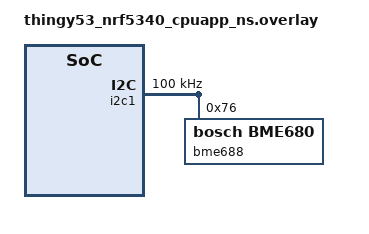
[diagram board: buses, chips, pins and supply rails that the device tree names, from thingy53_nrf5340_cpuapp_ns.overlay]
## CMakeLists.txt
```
cmake_minimum_required(VERSION 3.20.0)

find_package(Zephyr REQUIRED HINTS $ENV{ZEPHYR_BASE})

project(project_carl)

target_sources(app PRIVATE src/main.c src/bme688_interface.c src/ble.c)
target_include_directories(app PRIVATE src)
```

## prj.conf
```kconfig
# enable I2C
CONFIG_I2C=y

# enable uart driver
CONFIG_SERIAL=y

# enable GPIO
CONFIG_GPIO=y

#enable logging
CONFIG_LOG=y

#enable printk
CONFIG_PRINTK=y

#enable floating point format
CONFIG_CBPRINTF_FP_SUPPORT=y

#enable sensor
CONFIG_SENSOR=y

##enable bme688
CONFIG_BME680=y
```

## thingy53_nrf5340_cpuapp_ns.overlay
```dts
// To get started, press Ctrl+Space to bring up the completion menu and view the available nodes.

// You can also use the buttons in the sidebar to perform actions on nodes.
// Actions currently available include:

// * Enabling / disabling the node
// * Adding the bus to a bus
// * Removing the node
// * Connecting ADC channels

// For more help, browse the DeviceTree documentation at https://docs.zephyrproject.org/latest/guides/dts/index.html
// You can also visit the nRF DeviceTree extension documentation at https://nrfconnect.github.io/vscode-nrf-connect/devicetree/nrfdevicetree.html
&i2c1 
{
        compatible = "nordic,nrf-twim";
        status = "okay";
        clock-frequency = <I2C_BITRATE_STANDARD>;

        bme688: bme688@76 
        {
                compatible = "bosch,bme680";
                reg = <0x76>;
        };
};
// rgb_led_pins 
// {
//         compatible = "gpio-leds";
//         led0: red_led {
//             gpios = <&gpio0 1 GPIO_ACTIVE_HIGH>;
//         };
//         led1: green_led {
//             gpios = <&gpio0 2 GPIO_ACTIVE_HIGH>;
//         };
//         led2: blue_led {
//             gpios = <&gpio0 3 GPIO_ACTIVE_HIGH>;
//         };
// };
```

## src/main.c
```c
/*******************************************************************
 * File: main.cpp
 * Author: Manideep Reddy Tamma
 * Date of creation: 2024-04-25
 * Description: Project Carl: Plant vital monitor, using arduino nRF SDK and Zypher RTOS.
*********************************************************************/
// #include <zephyr/kernel.h>
// #include <zephyr/device.h>
// #include <zephyr/devicetree.h>
// #include <zephyr/drivers/i2c.h>
// #include <zephyr/logging/log.h>
// #include <zephyr/sys/printk.h>
// #include <zephyr/drivers/gpio.h>
// #include <zephyr/drivers/sensor.h>

// /* including private headers */
// #include "bme688_reg.h"
// #include "bme688_interface.h"
#include "ui.h"
#include "ui.c"


// /* The code snippet */
// /* 1000x30 = 30sec */
// #define SLEEP_TIME_MS	1000/6
// // #define I2C_NODE DT_NODELABEL (bme688)

// // #include <zephyr/drivers/sensor.h>

// int main(void)
// {

// 	// Configure I2C
// 	if(false == configi2c())
// 	{
// 		printk("FAIL to init configure I2C settings\n\r");
// 		return;
// 	}

// 	// Setup the Sensor
// 	if (!envSensorConfig())
// 	{
// 		printk("FAIL to init configure Sensor settings\n\r");
// 		return;
// 	}

// 	// Setup the UI
// 	if (rgb_led_init(&rgb_led, &rgb_config) != 0) 
// 	{
//         LOG_ERR("Failed to initialize RGB LED");
//         return false;
//     }
// 	ui_error();
// 	lost_ble();
// 	// Read the sensor
// 	while (1)
// 	{
// 		if (!envSensorRead())
// 		{
// 			printk("FAIL to read sensor data\n\r");
// 			return;
// 		}
// 		k_sleep(K_SECONDS(10));  // Sleep for 10 seconds

// 		// Example of RGB LED
// 		// rgb_led_set_color(&rgb_led, 1, 0, 0); // Red
// 		// k_msleep(SLEEP_TIME_MS);
//         // rgb_led_set_color(&rgb_led, 0, 1, 0); // Green
//         // k_msleep(SLEEP_TIME_MS);
//         // rgb_led_set_color(&rgb_led, 0, 0, 1); // Blue
//         // k_msleep(SLEEP_TIME_MS);
//         // rgb_led_off(&rgb_led); // Off
//         // k_msleep(SLEEP_TIME_MS);
// 	}

// 	return 0;
// }

#include <zephyr/kernel.h>
#include <zephyr/drivers/sensor.h>
#include <zephyr/drivers/gpio.h>
#include <zephyr/logging/log.h>

void main(void)
{
	const struct device *bme = DEVICE_DT_GET_ONE(bosch_bme680);
	struct sensor_value temp, press, humidity;
	uint32_t start_time = k_uptime_get_32();

	printk("Initiating Project-Carl, Plant Monitor using Thingy:53 %s\n", CONFIG_BOARD);

	if (!device_is_ready(bme)) {
		printk("BME680 sensor: Device not ready.\n");
	} else {
		printk("BME680 sensor: Device is ready.\n");
	}

	// Setup the UI
	if (rgb_led_init(&rgb_led, &rgb_config) != 0) 
	{
		LOG_ERR("Failed to initialize RGB LED");
		ui_error();
		return;
	}

	led_check();
	welcome_light();

	if (!device_is_ready(bme)) {
		printk("sensor: Device not ready.\n");
		return;
	}
	printk("Device %p name is %s\n", bme, bme->name);

	while (1) {
		k_sleep(K_MINUTES(0.5));

		sensor_sample_fetch(bme);
		sensor_channel_get(bme, SENSOR_CHAN_AMBIENT_TEMP, &temp);
		sensor_channel_get(bme, SENSOR_CHAN_PRESS, &press);
		sensor_channel_get(bme, SENSOR_CHAN_HUMIDITY, &humidity);

		// Multiply pressure value by 10 to shift the decimal point
		press.val1 = press.val1 * 10 + press.val2 / 100000;
		press.val2 = (press.val2 % 100000) * 10;

		// Get elapsed time since start
		uint32_t elapsed_time = k_uptime_get_32() - start_time;
		uint32_t hours = elapsed_time / (60 * 60 * 1000);
		uint32_t minutes = (elapsed_time / (60 * 1000)) % 60;
		uint32_t seconds = (elapsed_time / 1000) % 60;

		// Print sensor data with timestamp
		printk("[%02d:%02d:%02d] Temp: %d.%06d °C | Atm: %d.%06d hPa | Hum: %d.%06d%%\n",
					hours, minutes, seconds,
					temp.val1, temp.val2, press.val1, press.val2,
					humidity.val1, humidity.val2);

		// Flash green light
		rgb_led_set_color(&rgb_led, 0, 1, 0); // Green
		k_msleep(500);
		rgb_led_off(&rgb_led); // Off
	}
}
```

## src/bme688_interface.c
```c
/*******************************************************************
 * File: bme688_interface.c
 * Author: Manideep Reddy Tamma
 * Date of creation: 2024-05-02
 * Description: C file for interfacing with BME688 sensor in Project Carl
*********************************************************************/

#include "bme688_reg.h"
#include <zephyr/kernel.h>
#include <zephyr/device.h>
#include <zephyr/drivers/i2c.h>
#include <zephyr/sys/printk.h>

#define I2C_NODE DT_NODELABEL(bme688)

static const struct i2c_dt_spec dev_i2c = I2C_DT_SPEC_GET(I2C_NODE);

// Calibration parameters
uint16_t par_t1, par_t2;
int8_t par_t3;
uint16_t par_p1, par_p2;
int8_t par_p3, par_p4, par_p5, par_p6, par_p7, par_p8, par_p9, par_p10;
uint16_t par_h1, par_h2;
int8_t par_h3, par_h4, par_h5, par_h6, par_h7;

int32_t t_fine;

bool read_calibration_params()
{
    uint8_t calib_data[41];
    int ret = i2c_burst_read_dt(&dev_i2c, 0xE1, calib_data, sizeof(calib_data));
    if (ret != 0)
    {
        printk("Failed to read calibration data from I2C device address 0x%x\n", dev_i2c.addr);
        return false;
    }

    par_t1 = (uint16_t)((calib_data[33] << 8) | calib_data[32]);
    par_t2 = (uint16_t)((calib_data[1] << 8) | calib_data[0]);
    par_t3 = (int8_t)calib_data[2];

    par_p1 = (uint16_t)((calib_data[5] << 8) | calib_data[4]);
    par_p2 = (uint16_t)((calib_data[7] << 8) | calib_data[6]);
    par_p3 = (int8_t)calib_data[8];
    par_p4 = (int8_t)calib_data[9];
    par_p5 = (int8_t)calib_data[10];
    par_p6 = (int8_t)calib_data[11];
    par_p7 = (int8_t)calib_data[12];
    par_p8 = (int8_t)calib_data[13];
    par_p9 = (int8_t)calib_data[14];
    par_p10 = (int8_t)calib_data[15];

    par_h1 = (uint16_t)((calib_data[26] << 4) | (calib_data[25] & 0x0F));
    par_h2 = (uint16_t)((calib_data[27] << 4) | (calib_data[25] >> 4));
    par_h3 = (int8_t)calib_data[28];
    par_h4 = (int8_t)calib_data[29];
    par_h5 = (int8_t)calib_data[30];
    par_h6 = (int8_t)calib_data[31];
    par_h7 = (int8_t)calib_data[32];

    printk("Calibration parameters:\n");
    printk("par_t1: %u, par_t2: %u, par_t3: %d\n", par_t1, par_t2, par_t3);
    printk("par_p1: %u, par_p2: %u, par_p3: %d, par_p4: %d, par_p5: %d, par_p6: %d, par_p7: %d, par_p8: %d, par_p9: %d, par_p10: %d\n",
            par_p1, par_p2, par_p3, par_p4, par_p5, par_p6, par_p7, par_p8, par_p9, par_p10);
    printk("par_h1: %u, par_h2: %u, par_h3: %d, par_h4: %d, par_h5: %d, par_h6: %d, par_h7: %d\n",
            par_h1, par_h2, par_h3, par_h4, par_h5, par_h6, par_h7);

    return true;
}

bool configi2c()
{
    printk("Initiating the Plant Monitor (Project-Carl) Using Thingy:53 with board configuration: %s\n", CONFIG_BOARD);
    if (!device_is_ready(dev_i2c.bus))
    {
        printk("I2C bus %s is not ready!\n", dev_i2c.bus->name);
        return false;
    }
    printk("I2C bus %s is ready\n", dev_i2c.bus->name);
    return true;
}

bool envSensorConfig(void)
{
    int ret;
    char buff1[] = {BME688_CTRL_HUM, BME688_MODE_CTRL_HUM_DEFAULT};
    ret = i2c_write_dt(&dev_i2c, buff1, sizeof(buff1));
    if (ret != 0)
    {
        printk("Failed to write to I2C device address 0x%x at Reg. 0x%x\n", dev_i2c.addr, BME688_CTRL_HUM);
        return false;
    }

    char buff2[] = {BME688_CTRL_MEAS, BME688_MODE_CTRL_TEMP_PRESS_DEFAULT};
    ret = i2c_write_dt(&dev_i2c, buff2, sizeof(buff2));
    if (ret != 0)
    {
        printk("Failed to write to I2C device address 0x%x at Reg. 0x%x\n", dev_i2c.addr, BME688_CTRL_MEAS);
        return false;
    }

    char buff3[] = {BME688_CTRL_MEAS, 0x01}; // Forced mode
    ret = i2c_write_dt(&dev_i2c, buff3, sizeof(buff3));
    if (ret != 0)
    {
        printk("Failed to set sensor to forced mode at I2C device address 0x%x at Reg. 0x%x\n", dev_i2c.addr, BME688_CTRL_MEAS);
        return false;
    }

    if (!read_calibration_params())
    {
        printk("Failed to read calibration parameters\n");
        return false;
    }

    return true;
}

double compensate_temperature(int32_t temp_raw)
{
    double var1 = (((double)temp_raw / 16384.0) - ((double)par_t1 / 1024.0)) * (double)par_t2;
    double var2 = ((((double)temp_raw / 131072.0) - ((double)par_t1 / 8192.0)) * (((double)temp_raw / 131072.0) - ((double)par_t1 / 8192.0))) * ((double)par_t3 * 16.0);
    t_fine = (int32_t)(var1 + var2);
    return t_fine / 5120.0;
}

double compensate_pressure(int32_t press_raw)
{
    double var1 = ((double)t_fine / 2.0) - 64000.0;
    double var2 = var1 * var1 * ((double)par_p6 / 131072.0);
    var2 = var2 + (var1 * (double)par_p5 * 2.0);
    var2 = (var2 / 4.0) + ((double)par_p4 * 65536.0);
    var1 = (((double)par_p3 * var1 * var1 / 16384.0) + ((double)par_p2 * var1)) / 524288.0;
    var1 = (1.0 + (var1 / 32768.0)) * (double)par_p1;
    double press_comp = 1048576.0 - (double)press_raw;
    press_comp = (press_comp - (var2 / 4096.0)) * 6250.0 / var1;
    var1 = ((double)par_p9 * press_comp * press_comp) / 2147483648.0;
    var2 = press_comp * ((double)par_p8 / 32768.0);
    double var3 = (press_comp / 256.0) * (press_comp / 256.0) * (press_comp / 256.0) * (par_p10 / 131072.0);
    press_comp = press_comp + (var1 + var2 + var3 + ((double)par_p7 * 128.0)) / 16.0;
    return press_comp;
}

double compensate_humidity(int32_t hum_raw, double temp_comp)
{
    double var1 = hum_raw - (((double)par_h1 * 16.0) + (((double)par_h3 / 2.0) * temp_comp));
    double var2 = var1 * (((double)par_h2 / 262144.0) * (1.0 + (((double)par_h4 / 16384.0) * temp_comp) + (((double)par_h5 / 1048576.0) * temp_comp * temp_comp)));
    double var3 = (double)par_h6 / 16384.0;
    double var4 = (double)par_h7 / 2097152.0;
    double hum_comp = var2 + ((var3 + (var4 * temp_comp)) * var2 * var2);
    return hum_comp;
}

bool envSensorRead(void)
{
    uint8_t temp_data[3];
    uint8_t press_data[3];
    uint8_t hum_data[2];

    int ret = i2c_burst_read_dt(&dev_i2c, BME688_TEMP_MSB_0, temp_data, sizeof(temp_data));
    if (ret != 0)
    {
        printk("Failed to read from I2C device address 0x%x at Reg. 0x%x\n", dev_i2c.addr, BME688_TEMP_MSB_0);
        return false;
    }

    ret = i2c_burst_read_dt(&dev_i2c, BME688_PRESS_MSB_0, press_data, sizeof(press_data));
    if (ret != 0)
    {
        printk("Failed to read from I2C device address 0x%x at Reg. 0x%x\n", dev_i2c.addr, BME688_PRESS_MSB_0);
        return false;
    }

    ret = i2c_burst_read_dt(&dev_i2c, BME688_HUM_MSB_0, hum_data, sizeof(hum_data));
    if (ret != 0)
    {
        printk("Failed to read from I2C device address 0x%x at Reg. 0x%x\n", dev_i2c.addr, BME688_HUM_MSB_0);
        return false;
    }

    int32_t temp_raw = (int32_t)((temp_data[0] << 12) | (temp_data[1] << 4) | (temp_data[2] >> 4));
    int32_t press_raw = (int32_t)((press_data[0] << 12) | (press_data[1] << 4) | (press_data[2] >> 4));
    int32_t hum_raw = (int32_t)((hum_data[0] << 8) | hum_data[1]);

    double temp = compensate_temperature(temp_raw);
    double press = compensate_pressure(press_raw);
    double hum = compensate_humidity(hum_raw, temp);

    printk("Temperature: %.2f C\n", temp);
    printk("Pressure: %.2f hPa\n", press);
    printk("Humidity: %.2f %%\n", hum);

    return true;
}
```

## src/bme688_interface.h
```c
/*******************************************************************
 * File: bme688_interface.h
 * Author: Manideep Reddy Tamma
 * Date of creation: 2025-02-08
 * Description: header file for bme688_interface
*********************************************************************/

#ifndef BME688_INTERFACE_H
#define BME688_INTERFACE_H

#include <zephyr/kernel.h>
#include <zephyr/device.h>
#include <zephyr/drivers/i2c.h>

bool configi2c(void);
bool envSensorConfig(void);
bool envSensorRead(void);

#endif // BME688_INTERFACE_H
```

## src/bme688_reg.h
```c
/*******************************************************************
 * File: bme688_reg.h
 * Author: Manideep Reddy Tamma
 * Date of creation: 2024-04-30
 * Description:  header file for bme688_interface
 * Reference for the BME688 sensor manufacturer document:
 * https://www.bosch-sensortec.com/media/boschsensortec/downloads/datasheets/bst-bme688-ds000.pdf
 *******************************************************************/
#include <zephyr/kernel.h>
#include <zephyr/device.h>
#include <zephyr/devicetree.h>
#include <zephyr/drivers/i2c.h>
#include <zephyr/logging/log.h>
#include <zephyr/sys/printk.h>

/*******************************************************************
 * Defines
 *******************************************************************/
/* 1000 msec = 1 sec */
// #define SLEEP_TIME_MS   (1000 * 2)

// Get the I2C Node identifier of the sensor
// #define I2C_NODE DT_NODELABEL (BME688)

// Sensor registers addresses and settings

// Control
#define BME688_STATUS                           0x73
#define BME688_RESET                            0xE0
#define BME688_CHIP_ID                          0xD0
#define BME688_CONFIG                           0x75
#define BME688_CTRL_MEAS                        0x74   // Sensor power mode 1. 00 = sleep mode, 2. 01 = Forced mode, 3. 10 = Parallel mode.
#define BME688_CTRL_HUM                         0x72   // Controls over sampling setting of humidity sensor 1. 000 = Skipped (out set to 0x8000), 2. 001 = Oversampling x 1, 3. 010 = x2, 4. 011 = x4, 5. 100 = x8, 6. 101,others = x16.
#define BME688_CTRL_GAS_1                       0x71
#define BME688_CTRL_GAS_0                       0x70
#define BME688_MEAS_STATUS_0                    0x1D
#define BME688_MODE_CTRL_HUM_DEFAULT            0x01     // 001 oversampling x 1
#define BME688_MODE_CTRL_TEMP_PRESS_DEFAULT     0x49    // 0001001001 Forced mode, oversampling x 1 for Temp and Press

// Read
#define BME688_HUM_LSB_0         0x26   // 16bit
#define BME688_HUM_MSB_0         0x25   // 8bit

#define BME688_TEMP_XLSB_0       0x24   // 20bit
#define BME688_TEMP_LSB_0        0x23   // 16bit
#define BME688_TEMP_MSB_0        0x22   // 8bit

#define BME688_PRESS_XLSB_0      0x21   // 20bit
#define BME688_PRESS_LSB_0       0x20   // 16bit
#define BME688_PRESS_MSB_0       0x1F   // 8bit

/*******************************************************************
 * Function Declarations
 *******************************************************************/
extern bool configi2c(void);
extern bool envSensorConfig(void);
extern bool envSensorRead(void);
```

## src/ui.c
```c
#include <zephyr/kernel.h>
#include <zephyr/logging/log.h>
//#include <zephyr/drivers/gpio.h>
#include "ui.h"


LOG_MODULE_REGISTER(ui, LOG_LEVEL_INF);


/* LED1 pin */
static const struct gpio_dt_spec led0 = GPIO_DT_SPEC_GET(DT_ALIAS(led0), gpios);
static const struct gpio_dt_spec led1 = GPIO_DT_SPEC_GET(DT_ALIAS(led1), gpios);
static const struct gpio_dt_spec led2 = GPIO_DT_SPEC_GET(DT_ALIAS(led2), gpios);

rgb_led_t rgb_led;
rgb_led_config_t rgb_config = 
{
    .red_led = led0,
    .green_led = led1,
    .blue_led = led2,
};

int rgb_led_init(rgb_led_t *led, const rgb_led_config_t *config) 
{
    if (!device_is_ready(config->red_led.port) ||
        !device_is_ready(config->green_led.port) ||
        !device_is_ready(config->blue_led.port)) 
    {
        return -ENODEV;
    }

    led->config = *config;

    gpio_pin_configure_dt(&led->config.red_led, GPIO_OUTPUT_INACTIVE);
    gpio_pin_configure_dt(&led->config.green_led, GPIO_OUTPUT_INACTIVE);
    gpio_pin_configure_dt(&led->config.blue_led, GPIO_OUTPUT_INACTIVE);

    return 0;
}

void rgb_led_set_color(rgb_led_t *led, uint8_t red, uint8_t green, uint8_t blue) 
{
    gpio_pin_set_dt(&led->config.red_led, red);
    gpio_pin_set_dt(&led->config.green_led, green);
    gpio_pin_set_dt(&led->config.blue_led, blue);
}

void rgb_led_off(rgb_led_t *led) 
{
    gpio_pin_set_dt(&led->config.red_led, 0);
    gpio_pin_set_dt(&led->config.green_led, 0);
    gpio_pin_set_dt(&led->config.blue_led, 0);
}

void ui_error()
{
    rgb_led_off(&rgb_led); // clear rgb
    for (uint8_t i = 0; i < 20; i++)
    {
        rgb_led_set_color(&rgb_led, 1, 0, 0); // Red
        k_msleep(300);
        rgb_led_off(&rgb_led); // Off
        k_msleep(200);
    }
}

void lost_ble()
{
    rgb_led_off(&rgb_led); // clear rgb
    for (uint8_t i = 0; i < 20; i++)
    {
        rgb_led_set_color(&rgb_led, 0, 0, 1); // Blue
        k_msleep(200);
        rgb_led_set_color(&rgb_led, 1, 0, 0); // Red
        k_msleep(200);
        rgb_led_off(&rgb_led); // Off
        k_msleep(200);
    }
}

void led_check()
{
    rgb_led_off(&rgb_led); // clear rgb
    for (uint8_t i = 0; i < 3; i++)
    {
        rgb_led_set_color(&rgb_led, 1, 0, 0); // Red
        k_msleep(200);
        rgb_led_set_color(&rgb_led, 0, 1, 0); // Green
        k_msleep(200);
        rgb_led_set_color(&rgb_led, 0, 0, 1); // Blue
        k_msleep(200);
    }
    rgb_led_off(&rgb_led); // clear rgb
}

void welcome_light()
{
    rgb_led_off(&rgb_led); // clear rgb
    rgb_led_set_color(&rgb_led, 0, 1, 0); // Green
    k_msleep(1000);
    rgb_led_off(&rgb_led); // clear rgb
}
```

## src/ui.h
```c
#ifndef __UI_H
#define __UI_H


#include <zephyr/kernel.h>
#include <zephyr/drivers/gpio.h>


// extern void ui_init(void);
// extern bool ui_get_led0(void);
// extern void ui_set_led0_brightness(uint8_t brightness);
// extern void ui_set_led0(void);
// extern void ui_clear_leds(void);
// extern void ui_toggle_led0(void);

typedef struct 
{
    struct gpio_dt_spec red_led;
    struct gpio_dt_spec green_led;
    struct gpio_dt_spec blue_led;
} rgb_led_config_t;

typedef struct 
{
    rgb_led_config_t config;
} rgb_led_t;

int rgb_led_init(rgb_led_t *led, const rgb_led_config_t *config);
void rgb_led_set_color(rgb_led_t *led, uint8_t red, uint8_t green, uint8_t blue);
void rgb_led_off(rgb_led_t *led);
void ui_error(void);
void lost_ble(void);
void led_check(void);
void welcome_light(void);
extern rgb_led_t rgb_led;


#endif
```
